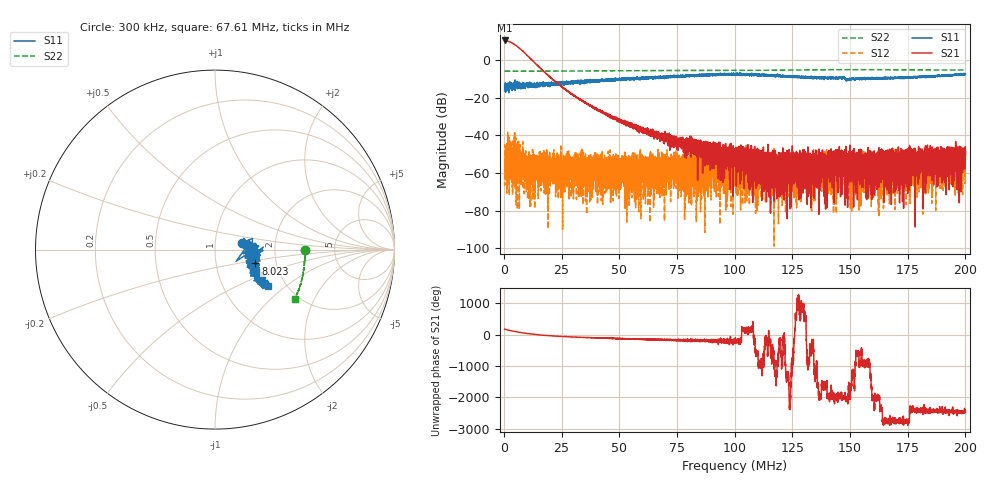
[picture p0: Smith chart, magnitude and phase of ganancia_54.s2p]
# Hz S DB R 50
! CMT, M5065, 19127446, 24.2.4/2
! Date: 11/8/2024 6:47:41 PM
! Data: Format (Calibration Info)
! Freq	S11:dB/Ang(F2)	S21:dB/Ang(F2)	S12:dB/Ang(F2)	S22:dB/Ang(F2)
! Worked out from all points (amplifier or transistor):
!   9000 points, 300 kHz to 200 MHz, reference 50 ohm
!   highest |S21| = 10.3 dB at 322.2 kHz (marker M1)
!   |S21| within 3 dB of that: start of sweep to 5.577 MHz
!   unconditionally stable (mu >= 1): start of sweep to end of sweep
!   at 33.59 MHz: K = 7157.74, MAG = -19.8 dB, |S12| = -64.9 dB
!   at 100.2 MHz: K = 34922.88, MAG = -45.7 dB, |S12| = -53.5 dB
!   at 200 MHz: K = 20794.08, MAG = -46.6 dB, |S12| = -48.1 dB
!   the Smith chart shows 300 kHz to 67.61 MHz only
!   S11 on the Smith chart (normalised r, x): 300 kHz: 1.34, +0.10; 8.023 MHz: 1.56, -0.26; 67.61 MHz: 1.61, -0.71
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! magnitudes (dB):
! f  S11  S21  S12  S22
! 300 kHz  -16.3  10.3  -65.1  -6.0
! 322.2 kHz  -13.6  10.3  -52.6  -6.0
! 1.254 MHz  -14.1  10.1  -70.7  -6.0
! 2.497 MHz  -14.4  9.6  -55.5  -6.0
! 8.023 MHz  -12.5  4.8  -54.6  -6.0
! 10.62 MHz  -13.2  1.8  -52.7  -6.0
! 33.59 MHz  -11.4  -21.5  -64.9  -5.9
! 66.87 MHz  -9.6  -40.1  -58.1  -5.7
! 67.61 MHz  -9.2  -39.6  -73.0  -5.6
! 100.2 MHz  -7.6  -47.9  -53.5  -5.6
! 113.8 MHz  -8.2  -75.3  -52.6  -5.5
! 117.2 MHz  -8.3  -75.0  -64.4  -5.5
! 133.4 MHz  -9.0  -60.8  -59.2  -5.3
! 138.1 MHz  -9.3  -54.3  -52.2  -5.3
! 142.3 MHz  -9.6  -60.6  -66.7  -5.2
! 147.8 MHz  -9.8  -54.0  -50.3  -5.2
! 150.6 MHz  -10.5  -53.6  -54.2  -5.2
! 166.7 MHz  -9.6  -54.0  -57.3  -5.2
! 190.6 MHz  -8.4  -52.4  -52.0  -5.3
! 192.8 MHz  -8.2  -49.1  -50.8  -5.4
! 198.8 MHz  -7.7  -48.2  -63.1  -5.4
! 200 MHz  -7.6  -49.0  -48.1  -5.4
